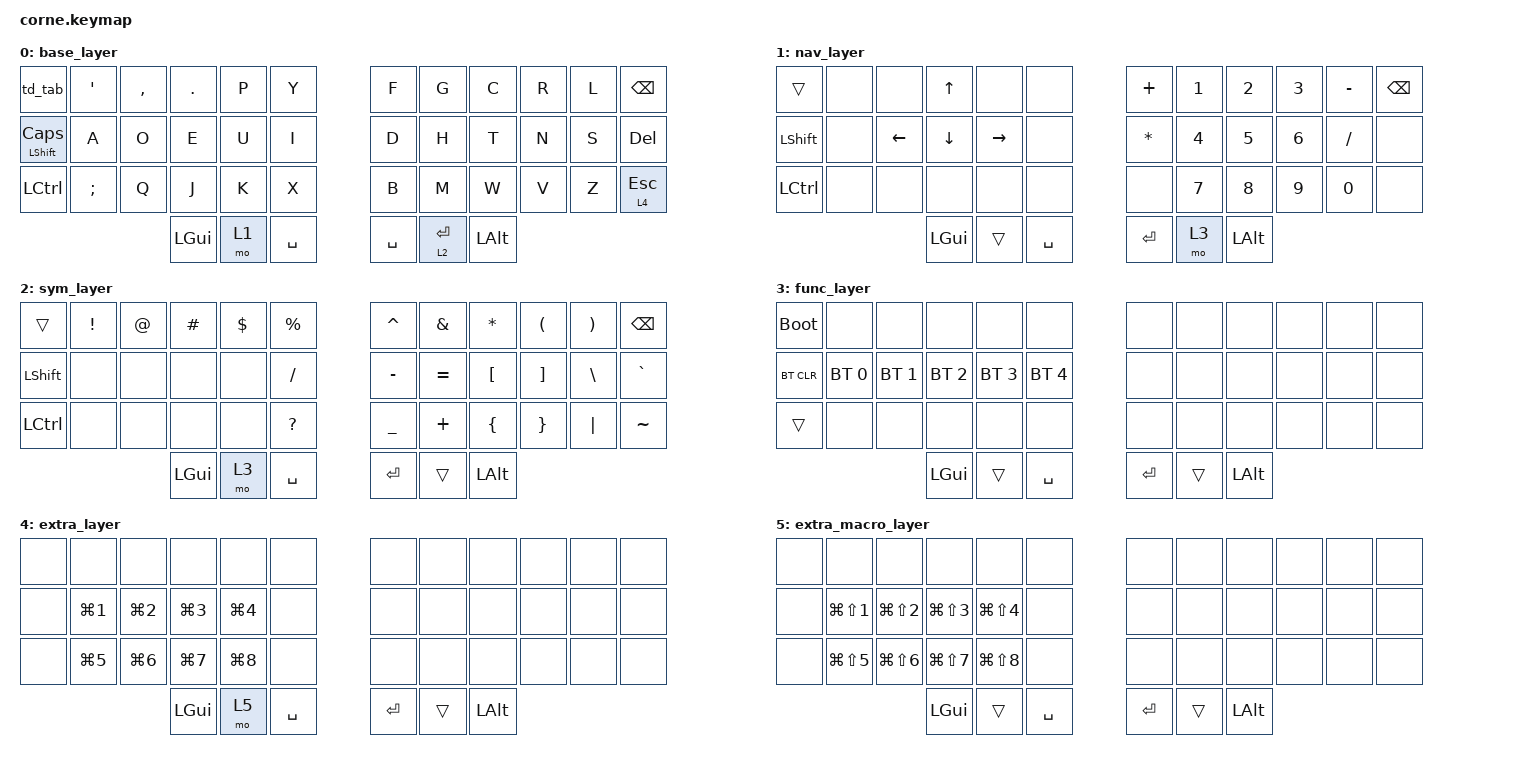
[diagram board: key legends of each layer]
/*
 * Copyright (c) 2024 Your Name
 *
 * SPDX-License-Identifier: MIT
 */

#include <behaviors.dtsi>
#include <dt-bindings/zmk/keys.h>
#include <dt-bindings/zmk/bt.h>

#define BASE 0
#define NAV 1
#define SYM 2
#define FUNC 3
#define EXTRA 4

/ {
    behaviors {
        // Tap dance for Tab/Escape
        td_tab: tap_dance_tab {
            compatible = "zmk,behavior-tap-dance";
            label = "TAP_DANCE_TAB";
            #binding-cells = <0>;
            tapping-term-ms = <200>;
            bindings = <&kp TAB>, <&kp ESC>;
        };

        // Modifier tap for Left Shift / Caps Lock
        mt_lsft: mod_tap_lsft {
            compatible = "zmk,behavior-hold-tap";
            label = "MOD_TAP_LSFT";
            #binding-cells = <2>;
            flavor = "tap-preferred";
            tapping-term-ms = <200>;
            bindings = <&kp>, <&kp>;
        };
    };

    conditional_layers {
        compatible = "zmk,conditional-layers";
        tri_layer {
            if-layers = <1 2>;
            then-layer = <3>;
        };
    };

    keymap {
        compatible = "zmk,keymap";

        base_layer {
            bindings = <
    &td_tab    &kp QUOT  &kp COMMA &kp DOT   &kp P     &kp Y         &kp F     &kp G     &kp C     &kp R     &kp L     &kp BSPC
    &mt_lsft LSHIFT CAPS  &kp A     &kp O     &kp E     &kp U     &kp I         &kp D     &kp H     &kp T     &kp N     &kp S     &kp DEL
    &kp LCTRL  &kp SEMI  &kp Q     &kp J     &kp K     &kp X         &kp B     &kp M     &kp W     &kp V     &kp Z     &lt 4 ESC
                         &kp LGUI  &mo 1     &kp SPACE                         &kp SPACE &lt 2 ENTER &kp LALT
            >;
        };

        nav_layer {
            bindings = <
    &trans     &none     &none     &kp UP    &none     &none         &kp PLUS   &kp N1    &kp N2    &kp N3    &kp MINUS &kp BSPC
    &kp LSHFT  &none     &kp LEFT  &kp DOWN  &kp RIGHT &none         &kp ASTRK  &kp N4    &kp N5    &kp N6    &kp FSLH  &none
    &kp LCTRL  &none     &none     &none     &none     &none         &none      &kp N7    &kp N8    &kp N9    &kp N0    &none
                                   &kp LGUI  &trans    &kp SPACE                &kp ENTER &mo 3     &kp LALT
            >;
        };

        sym_layer {
            bindings = <
    &trans     &kp EXCL  &kp AT    &kp HASH  &kp DLLR  &kp PRCNT     &kp CARET  &kp AMPS  &kp ASTRK &kp LPAR  &kp RPAR  &kp BSPC
    &kp LSHFT  &none     &none     &none     &none     &kp FSLH      &kp MINUS  &kp EQUAL &kp LBKT  &kp RBKT  &kp BSLH  &kp GRAVE
    &kp LCTRL  &none     &none     &none     &none     &kp QMARK     &kp UNDER  &kp PLUS  &kp LBRC  &kp RBRC  &kp PIPE  &kp TILDE
                                   &kp LGUI  &mo 3     &kp SPACE                &kp ENTER &trans    &kp LALT
            >;
        };

        func_layer {
            bindings = <
    &bootloader &none     &none     &none     &none     &none         &none      &none     &none     &none     &none     &none
    &bt BT_CLR  &bt BT_SEL 0 &bt BT_SEL 1 &bt BT_SEL 2 &bt BT_SEL 3 &bt BT_SEL 4 &none      &none     &none     &none     &none     &none
    &trans      &none     &none     &none     &none     &none         &none      &none     &none     &none     &none     &none
                                    &kp LGUI  &trans    &kp SPACE                &kp ENTER &trans    &kp LALT
            >;
        };

        extra_layer {
            bindings = <
    &none      &none     &none     &none     &none     &none         &none      &none     &none     &none     &none     &none
    &none      &kp LG(N1) &kp LG(N2) &kp LG(N3) &kp LG(N4) &none     &none      &none     &none     &none     &none     &none
    &none      &kp LG(N5) &kp LG(N6) &kp LG(N7) &kp LG(N8) &none     &none      &none     &none     &none     &none     &none
                                    &kp LGUI  &mo 5     &kp SPACE                &kp ENTER &trans    &kp LALT
            >;
        };

        extra_macro_layer {
            bindings = <
    &none      &none     &none     &none     &none     &none         &none      &none     &none     &none     &none     &none
    &none      &kp LG(LS(N1)) &kp LG(LS(N2)) &kp LG(LS(N3)) &kp LG(LS(N4)) &none  &none      &none     &none     &none     &none     &none
    &none      &kp LG(LS(N5)) &kp LG(LS(N6)) &kp LG(LS(N7)) &kp LG(LS(N8)) &none  &none      &none     &none     &none     &none     &none
                                    &kp LGUI  &trans    &kp SPACE                &kp ENTER &trans    &kp LALT
            >;
        };
    };
};
